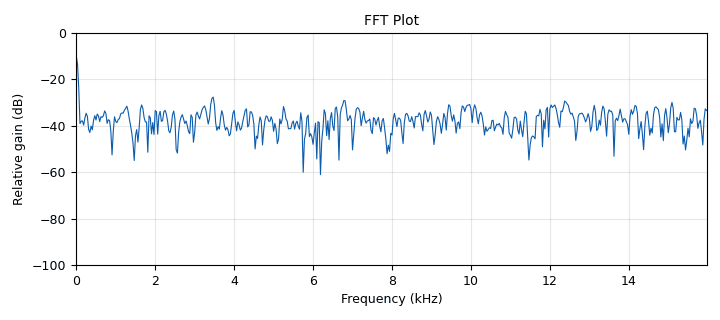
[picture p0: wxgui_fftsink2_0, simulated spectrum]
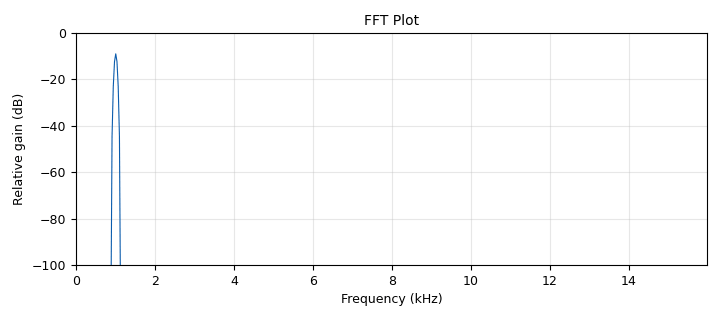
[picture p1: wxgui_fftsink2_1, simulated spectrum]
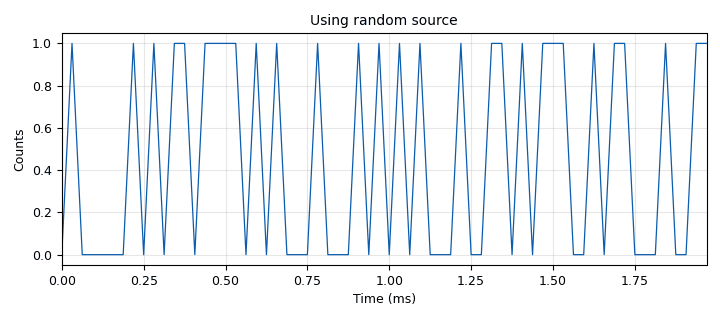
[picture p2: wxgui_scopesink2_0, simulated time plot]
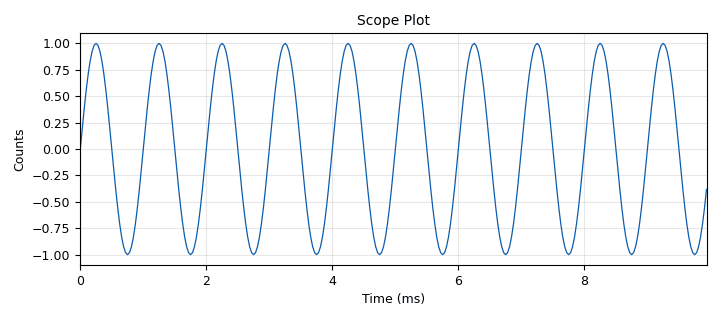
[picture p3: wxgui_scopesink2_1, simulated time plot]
<?xml version='1.0' encoding='utf-8'?>
<?grc format='1' created='3.7.11'?>
<flow_graph>
<block>
<key>options</key>
<param><key>id</key><value>top_block</value></param>
<param><key>generate_options</key><value>wx_gui</value></param>
</block>
<block>
<key>variable</key>
<param><key>id</key><value>samp_rate</value></param>
<param><key>value</key><value>32000</value></param>
</block>
<block>
<key>analog_random_source_x</key>
<param><key>id</key><value>analog_random_source_x_0</value></param>
<param><key>max</key><value>200</value></param>
<param><key>min</key><value>0</value></param>
<param><key>num_samps</key><value>1000</value></param>
<param><key>type</key><value>byte</value></param>
<param><key>repeat</key><value>True</value></param>
</block>
<block>
<key>analog_sig_source_x</key>
<param><key>id</key><value>analog_sig_source_x_0</value></param>
<param><key>amp</key><value>1</value></param>
<param><key>freq</key><value>1000</value></param>
<param><key>offset</key><value>0</value></param>
<param><key>type</key><value>float</value></param>
<param><key>samp_rate</key><value>samp_rate</value></param>
<param><key>waveform</key><value>analog.GR_COS_WAVE</value></param>
</block>
<block>
<key>audio_sink</key>
<param><key>id</key><value>audio_sink_0</value></param>
<param><key>samp_rate</key><value>samp_rate</value></param>
</block>
<block>
<key>audio_sink</key>
<param><key>id</key><value>audio_sink_1</value></param>
<param><key>samp_rate</key><value>samp_rate</value></param>
</block>
<block>
<key>blocks_char_to_float</key>
<param><key>id</key><value>blocks_char_to_float_0</value></param>
<param><key>scale</key><value>1</value></param>
</block>
<block>
<key>blocks_throttle</key>
<param><key>id</key><value>blocks_throttle_0</value></param>
<param><key>samples_per_second</key><value>samp_rate</value></param>
<param><key>type</key><value>float</value></param>
</block>
<block>
<key>blocks_throttle</key>
<param><key>id</key><value>blocks_throttle_1</value></param>
<param><key>samples_per_second</key><value>samp_rate</value></param>
<param><key>type</key><value>float</value></param>
</block>
<block>
<key>blocks_unpack_k_bits_bb</key>
<param><key>id</key><value>blocks_unpack_k_bits_bb_0</value></param>
<param><key>k</key><value>8</value></param>
</block>
<block>
<key>note</key>
<param><key>id</key><value>note_0</value></param>
<param><key>note</key><value>using random source</value></param>
</block>
<block>
<key>note</key>
<param><key>id</key><value>note_1</value></param>
<param><key>note</key><value>using signal source</value></param>
</block>
<block>
<key>wxgui_fftsink2</key>
<param><key>id</key><value>wxgui_fftsink2_0</value></param>
<param><key>avg_alpha</key><value>0</value></param>
<param><key>average</key><value>False</value></param>
<param><key>baseband_freq</key><value>0</value></param>
<param><key>fft_size</key><value>1024</value></param>
<param><key>freqvar</key><value>None</value></param>
<param><key>peak_hold</key><value>False</value></param>
<param><key>ref_level</key><value>0</value></param>
<param><key>ref_scale</key><value>2.0</value></param>
<param><key>fft_rate</key><value>15</value></param>
<param><key>samp_rate</key><value>samp_rate</value></param>
<param><key>title</key><value>FFT Plot</value></param>
<param><key>type</key><value>float</value></param>
<param><key>win</key><value>None</value></param>
<param><key>y_divs</key><value>10</value></param>
<param><key>y_per_div</key><value>10</value></param>
</block>
<block>
<key>wxgui_fftsink2</key>
<param><key>id</key><value>wxgui_fftsink2_1</value></param>
<param><key>avg_alpha</key><value>0</value></param>
<param><key>average</key><value>False</value></param>
<param><key>baseband_freq</key><value>0</value></param>
<param><key>fft_size</key><value>1024</value></param>
<param><key>freqvar</key><value>None</value></param>
<param><key>peak_hold</key><value>False</value></param>
<param><key>ref_level</key><value>0</value></param>
<param><key>ref_scale</key><value>2.0</value></param>
<param><key>fft_rate</key><value>15</value></param>
<param><key>samp_rate</key><value>samp_rate</value></param>
<param><key>title</key><value>FFT Plot</value></param>
<param><key>type</key><value>float</value></param>
<param><key>win</key><value>None</value></param>
<param><key>y_divs</key><value>10</value></param>
<param><key>y_per_div</key><value>10</value></param>
</block>
<block>
<key>wxgui_scopesink2</key>
<param><key>id</key><value>wxgui_scopesink2_0</value></param>
<param><key>ac_couple</key><value>False</value></param>
<param><key>num_inputs</key><value>1</value></param>
<param><key>samp_rate</key><value>samp_rate</value></param>
<param><key>t_scale</key><value>0</value></param>
<param><key>title</key><value>Using random source</value></param>
<param><key>trig_mode</key><value>wxgui.TRIG_MODE_AUTO</value></param>
<param><key>type</key><value>float</value></param>
<param><key>v_offset</key><value>0</value></param>
<param><key>v_scale</key><value>0</value></param>
<param><key>xy_mode</key><value>False</value></param>
<param><key>y_axis_label</key><value>Counts</value></param>
</block>
<block>
<key>wxgui_scopesink2</key>
<param><key>id</key><value>wxgui_scopesink2_1</value></param>
<param><key>ac_couple</key><value>False</value></param>
<param><key>num_inputs</key><value>1</value></param>
<param><key>samp_rate</key><value>samp_rate</value></param>
<param><key>t_scale</key><value>0</value></param>
<param><key>title</key><value>Scope Plot</value></param>
<param><key>trig_mode</key><value>wxgui.TRIG_MODE_AUTO</value></param>
<param><key>type</key><value>float</value></param>
<param><key>v_offset</key><value>0</value></param>
<param><key>v_scale</key><value>0</value></param>
<param><key>xy_mode</key><value>False</value></param>
<param><key>y_axis_label</key><value>Counts</value></param>
</block>
<connection><source_block_id>analog_random_source_x_0</source_block_id><sink_block_id>blocks_unpack_k_bits_bb_0</sink_block_id><source_key>0</source_key><sink_key>0</sink_key></connection>
<connection><source_block_id>analog_sig_source_x_0</source_block_id><sink_block_id>blocks_throttle_1</sink_block_id><source_key>0</source_key><sink_key>0</sink_key></connection>
<connection><source_block_id>blocks_char_to_float_0</source_block_id><sink_block_id>blocks_throttle_0</sink_block_id><source_key>0</source_key><sink_key>0</sink_key></connection>
<connection><source_block_id>blocks_throttle_0</source_block_id><sink_block_id>audio_sink_0</sink_block_id><source_key>0</source_key><sink_key>0</sink_key></connection>
<connection><source_block_id>blocks_throttle_0</source_block_id><sink_block_id>wxgui_fftsink2_0</sink_block_id><source_key>0</source_key><sink_key>0</sink_key></connection>
<connection><source_block_id>blocks_throttle_0</source_block_id><sink_block_id>wxgui_scopesink2_0</sink_block_id><source_key>0</source_key><sink_key>0</sink_key></connection>
<connection><source_block_id>blocks_throttle_1</source_block_id><sink_block_id>audio_sink_1</sink_block_id><source_key>0</source_key><sink_key>0</sink_key></connection>
<connection><source_block_id>blocks_throttle_1</source_block_id><sink_block_id>wxgui_fftsink2_1</sink_block_id><source_key>0</source_key><sink_key>0</sink_key></connection>
<connection><source_block_id>blocks_throttle_1</source_block_id><sink_block_id>wxgui_scopesink2_1</sink_block_id><source_key>0</source_key><sink_key>0</sink_key></connection>
<connection><source_block_id>blocks_unpack_k_bits_bb_0</source_block_id><sink_block_id>blocks_char_to_float_0</sink_block_id><source_key>0</source_key><sink_key>0</sink_key></connection>
</flow_graph>
